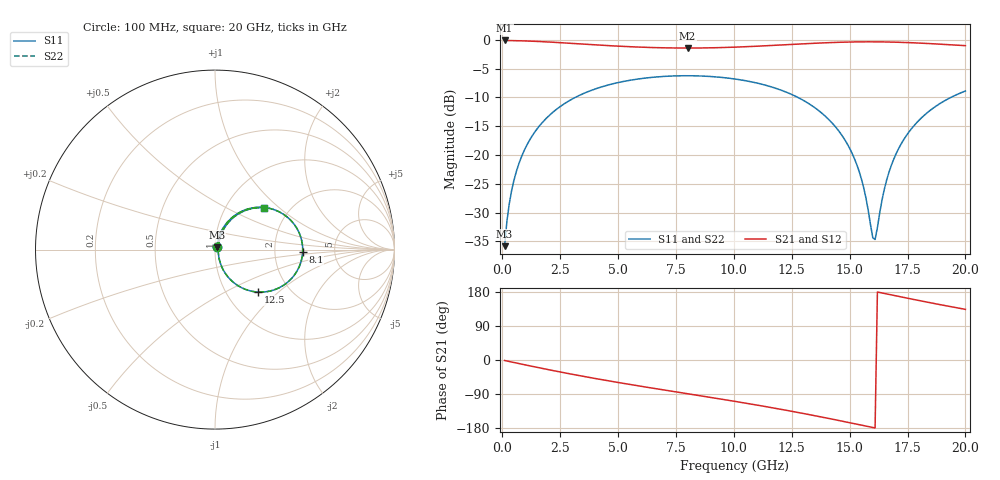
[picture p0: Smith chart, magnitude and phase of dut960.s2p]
! Touchstone file exported from HFSS 2026.1.0
!  File:  C:/ffzhzh/LocalFiles/Ansys_Project_Files/temp_train_TSV_RDL_960_1783284250_5512.aedt
!  Generated:  04:53:39 AM Jul  6, 2026
!  Design:  TSV_RDL
!  Project:  temp_train_TSV_RDL_960_1783284250_5512
! Variables:
!  h_bsmrdl = 5.54um
!  h_ox = 20um
!  h_rdl = 5um
!  h_sub = 86.77um
!  h_tmrdl = 5.78um
!  h_tsv = 86.77um
!  h_via = 3um
!  l_bsmrdl = 462.81um
!  l_sub = 3639.84um
!  l_tmrdl = 429.47um
!  m_sub = 200um
!  pitch = 55.64um
!  r_tsv = 13.47um
!  s_tmrdl = 10um
!  w_bsmrdl = 16.74um
!  w_sub = 500um
!  w_tmrdl = 27.77um
!  x_tsv_center1 = 443.355um
!  x_tsv_center2 = 922.905um
!  x_tsv_center3 = 1380.145um
!  x_tsv_center4 = 1859.695um
!  x_tsv_center5 = 2316.935um
!  x_tsv_center6 = 2796.485um
# GHz S MA R 50.000000
! Terminal data exported
! Port[1] = TM_RDL1_1_T1
! Port[2] = TM_RDL5_1_T1
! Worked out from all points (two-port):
!   200 points, 100 MHz to 20 GHz, reference 50 ohm
!   highest |S21| = -0.09 dB at 100 MHz (marker M1); lowest = -1.4 dB at 8 GHz (marker M2)
!   |S21| within 3 dB of the highest: start of sweep to end of sweep
!   lowest |S11| = -35.8 dB at 100 MHz (marker M3), VSWR 1.03, Z = 51.1 + j1.25 ohm
!   |S11| at or under -10 dB: start of sweep to 3.146 GHz; 12.77 GHz to 19.37 GHz (6.597 GHz wide, 41.1 % of centre)
!   |S22| runs from -35.8 to -6.2 dB; largest |S21 - S12| = 3.1e-14
!   S11 on the Smith chart (normalised r, x): 100 MHz: 1.02, +0.02; 8.1 GHz: 2.91, -0.11; 12.5 GHz: 1.39, -0.74; 20 GHz: 1.50, +0.80
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0.1  0.01615 49.0  0.9896 -1.4  0.9896 -1.4  0.01615 49.0
! Gamma 0 0 0 0
! Port Impedance 50 0 50 0
0.3  0.0376 68.4  0.988 -4.0  0.988 -4.0  0.0376 68.4
0.5  0.05996 71.9  0.9863 -6.6  0.9863 -6.6  0.05996 71.9
1.1  0.1262 69.5  0.9784 -14.3  0.9784 -14.3  0.1262 69.5
2.1  0.2276 59.1  0.9573 -26.8  0.9573 -26.8  0.2276 59.1
3.5  0.3419 43.6  0.9199 -43.2  0.9199 -43.2  0.3419 43.6
6.8  0.4793 10.6  0.8555 -77.3  0.8555 -77.3  0.4793 10.6
8  0.4887 -0.7  0.8502 -89.0  0.8502 -89.0  0.4887 -0.7
8.1  0.4886 -1.6  0.8502 -90.0  0.8502 -90.0  0.4886 -1.6
10.1  0.4561 -20.6  0.8664 -109.7  0.8664 -109.7  0.4562 -20.6
12.5  0.3358 -44.8  0.9143 -135.4  0.9143 -135.4  0.3358 -44.8
13.4  0.2661 -54.2  0.9341 -145.8  0.9341 -145.8  0.2662 -54.2
14.4  0.1747 -64.0  0.952 -157.9  0.952 -157.9  0.1747 -64.1
15.1  0.1042 -68.5  0.96 -166.7  0.96 -166.7  0.1042 -68.6
15.6  0.05279 -64.8  0.9628 -173.0  0.9628 -173.0  0.05276 -64.9
16  0.01913 -19.7  0.963 -178.1  0.963 -178.1  0.01902 -19.9
16.1  0.01846 12.4  0.9628 -179.3  0.9628 -179.3  0.01833 12.4
16.4  0.04073 59.2  0.9615 176.8  0.9615 176.8  0.04066 59.4
16.7  0.07093 67.0  0.9592 173.0  0.9592 173.0  0.07089 67.1
17.2  0.1223 67.1  0.9533 166.8  0.9533 166.8  0.1223 67.1
17.9  0.1914 61.7  0.9414 158.1  0.9414 158.1  0.1914 61.7
20  0.3598 40.4  0.8919 133.7  0.8919 133.7  0.3598 40.4
